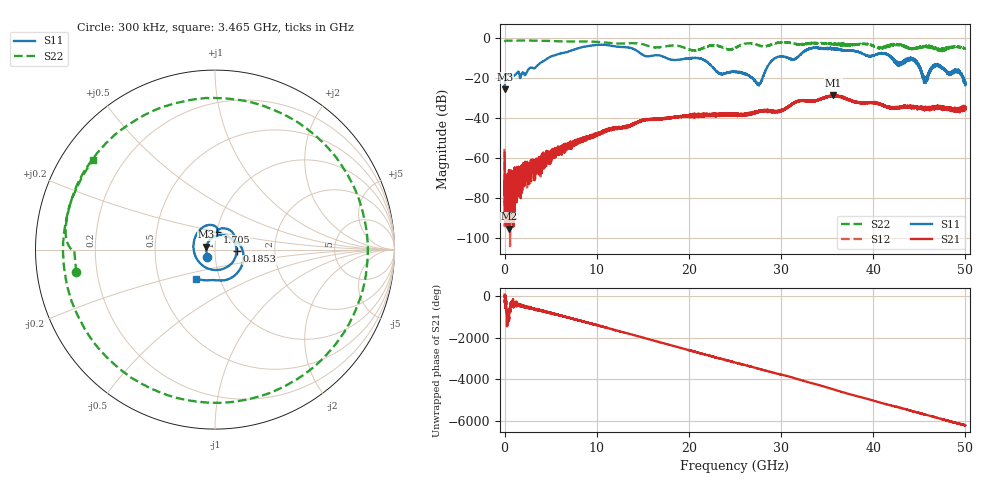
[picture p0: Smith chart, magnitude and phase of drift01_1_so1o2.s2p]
!Created with skrf (http://scikit-rf.org).
# Hz S RI R 50.0
!freq ReS11 ImS11 ReS21 ImS21 ReS12 ImS12 ReS22 ImS22
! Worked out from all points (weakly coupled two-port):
!   10001 points, 300 kHz to 50 GHz, reference 50 ohm
!   highest |S21| = -28.78 dB at 35.68 GHz (marker M1); lowest = -95.4 dB at 480.3 MHz (marker M2)
!   lowest |S11| = -25.8 dB at 5.3 MHz (marker M3), VSWR 1.11, Z = 45.3 + j1.42 ohm
!   |S11| at or under -10 dB: start of sweep to 4.761 GHz; 17.49 GHz to 29.42 GHz (11.93 GHz wide, 50.9 % of centre); 44.08 GHz to end of sweep (the widest 3 of 10)
!   |S22| runs from -6.7 to -1.4 dB; largest |S21 - S12| = 0.0039
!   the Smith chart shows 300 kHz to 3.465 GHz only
!   S11 on the Smith chart (normalised r, x): 300 kHz: 0.91, -0.07; 185.3 MHz: 1.27, -0.02; 1.705 GHz: 1.00, +0.20; 3.465 GHz: 0.77, -0.26
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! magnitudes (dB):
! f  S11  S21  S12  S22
! 300 kHz  -24.2  -57.4  -55.5  -2.1
! 5.3 MHz  -25.8  -71.9  -76.6  -2.1
! 185.3 MHz  -18.4  -74.9  -77.4  -1.4
! 480.3 MHz  -18.6  -95.4  -73.9  -1.5
! 1.705 GHz  -20.1  -69.3  -70.7  -1.4
! 3.465 GHz  -14.3  -64.6  -63.4  -1.5
! 8.335 GHz  -4.8  -50.5  -51.1  -1.8
! 16.67 GHz  -8.7  -40.9  -40.6  -4.8
! 21.14 GHz  -10.3  -38.4  -38.6  -5.9
! 25 GHz  -17.1  -38.2  -38.4  -5.2
! 27.59 GHz  -23.6  -36.8  -36.8  -3.9
! 29.27 GHz  -10.4  -36.7  -36.6  -2.8
! 31.45 GHz  -10.7  -32.5  -32.4  -3.0
! 33.34 GHz  -5.2  -31.7  -31.6  -2.6
! 35.68 GHz  -5.6  -28.8  -29.2  -3.3
! 41.67 GHz  -9.0  -34.6  -34.8  -4.3
! 42.74 GHz  -12.5  -34.8  -34.8  -3.3
! 44.41 GHz  -10.9  -35.2  -34.6  -5.3
! 45.6 GHz  -21.8  -35.1  -35.3  -4.0
! 46.88 GHz  -13.7  -35.3  -34.7  -5.4
! 49.25 GHz  -17.2  -35.7  -35.9  -4.6
! 50 GHz  -22.5  -35.4  -35.2  -5.4
